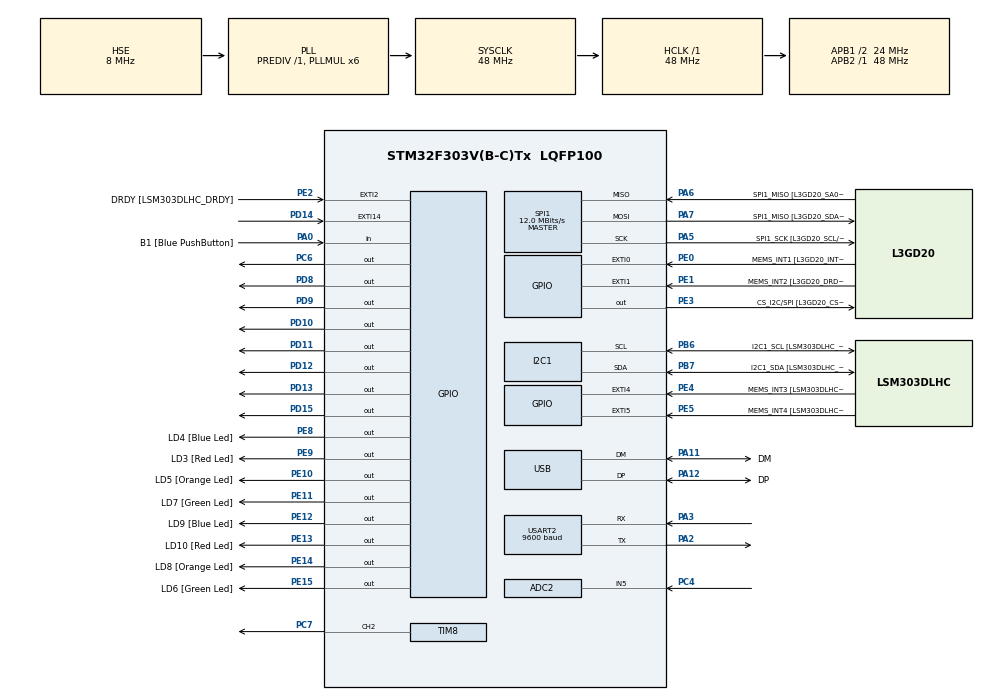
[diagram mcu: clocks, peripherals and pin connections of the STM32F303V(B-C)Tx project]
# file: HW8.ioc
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ADC2.Channel-0\#ChannelRegularConversion=ADC_CHANNEL_5
ADC2.NbrOfConversionFlag=1
ADC2.Offset-0\#ChannelRegularConversion=0
ADC2.OffsetNumber-0\#ChannelRegularConversion=ADC_OFFSET_NONE
ADC2.Rank-0\#ChannelRegularConversion=1
ADC2.SamplingTime-0\#ChannelRegularConversion=ADC_SAMPLETIME_1CYCLE_5
ADC2.SamplingTimeOPAMP-0\#ChannelRegularConversion=ADC_SAMPLETIME_19CYCLES_5
I2C1.Timing-I2C=0x2000090E
Mcu.Family=STM32F3
Mcu.Name=STM32F303V(B-C)Tx
Mcu.Package=LQFP100
NVIC.ADC1_2_IRQn=true\:0\:0\:false\:false\:true\:true\:true\:true
NVIC.EXTI15_10_IRQn=true\:0\:0\:false\:false\:true\:true\:true\:true
NVIC.PriorityGroup=NVIC_PRIORITYGROUP_0
NVIC.USART2_IRQn=true\:0\:0\:false\:false\:true\:true\:true\:true
PA0.GPIO_Label=B1 [Blue PushButton]
PA0.Signal=GPIO_Input
PA11.GPIO_Label=DM
PA11.Mode=Device
PA11.Signal=USB_DM
PA12.GPIO_Label=DP
PA12.Mode=Device
PA12.Signal=USB_DP
PA13.GPIO_Label=SWDIO
PA13.Mode=Serial_Wire
PA13.Signal=SYS_JTMS-SWDIO
PA14.GPIO_Label=SWCLK
PA14.Mode=Serial_Wire
PA14.Signal=SYS_JTCK-SWCLK
PA2.Mode=Asynchronous
PA2.Signal=USART2_TX
PA3.Mode=Asynchronous
PA3.Signal=USART2_RX
PA5.GPIO_Label=SPI1_SCK [L3GD20_SCL/SPC]
PA5.Mode=Full_Duplex_Master
PA5.Signal=SPI1_SCK
PA6.GPIO_Label=SPI1_MISO [L3GD20_SA0/SDO]
PA6.Mode=Full_Duplex_Master
PA6.Signal=SPI1_MISO
PA7.GPIO_Label=SPI1_MISO [L3GD20_SDA/SDI/SDO]
PA7.Mode=Full_Duplex_Master
PA7.Signal=SPI1_MOSI
PB3.GPIO_Label=SWO
PB3.Signal=SYS_JTDO-TRACESWO
PB6.GPIO_Label=I2C1_SCL [LSM303DLHC_SCL]
PB6.GPIO_Pu=GPIO_PULLUP
PB6.Mode=I2C
PB6.Signal=I2C1_SCL
PB7.GPIO_Label=I2C1_SDA [LSM303DLHC_SDA]
PB7.GPIO_Pu=GPIO_PULLUP
PB7.Mode=I2C
PB7.Signal=I2C1_SDA
PC14-OSC32_IN.GPIO_Label=OSC32_IN
PC14-OSC32_IN.Signal=RCC_OSC32_IN
PC15-OSC32_OUT.GPIO_Label=OSC32_OUT
PC15-OSC32_OUT.Signal=RCC_OSC32_OUT
PC4.Mode=IN5-Single-Ended
PC4.Signal=ADC2_IN5
PC6.Signal=GPIO_Output
PC7.Signal=S_TIM8_CH2
PD10.Signal=GPIO_Output
PD11.Signal=GPIO_Output
PD12.Signal=GPIO_Output
PD13.Signal=GPIO_Output
PD14.Signal=GPXTI14
PD15.Signal=GPIO_Output
PD8.Signal=GPIO_Output
PD9.Signal=GPIO_Output
PE0.GPIO_Label=MEMS_INT1 [L3GD20_INT1]
PE0.GPIO_ModeDefaultEXTI=GPIO_MODE_EVT_RISING
PE0.Signal=GPXTI0
PE1.GPIO_Label=MEMS_INT2 [L3GD20_DRDY/INT2]
PE1.GPIO_ModeDefaultEXTI=GPIO_MODE_EVT_RISING
PE1.Signal=GPXTI1
PE10.GPIO_Label=LD5 [Orange Led]
PE10.Signal=GPIO_Output
PE11.GPIO_Label=LD7 [Green Led]
PE11.Signal=GPIO_Output
PE12.GPIO_Label=LD9 [Blue Led]
PE12.Signal=GPIO_Output
PE13.GPIO_Label=LD10 [Red Led]
PE13.Signal=GPIO_Output
PE14.GPIO_Label=LD8 [Orange Led]
PE14.Signal=GPIO_Output
PE15.GPIO_Label=LD6 [Green Led]
PE15.Signal=GPIO_Output
PE2.GPIO_Label=DRDY [LSM303DLHC_DRDY]
PE2.GPIO_ModeDefaultEXTI=GPIO_MODE_EVT_RISING
PE2.Signal=GPXTI2
PE3.GPIO_Label=CS_I2C/SPI [L3GD20_CS_I2C/SPI]
PE3.Signal=GPIO_Output
PE4.GPIO_Label=MEMS_INT3 [LSM303DLHC_INT1]
PE4.GPIO_ModeDefaultEXTI=GPIO_MODE_EVT_RISING
PE4.Signal=GPXTI4
PE5.GPIO_Label=MEMS_INT4 [LSM303DLHC_INT2]
PE5.GPIO_ModeDefaultEXTI=GPIO_MODE_EVT_RISING
PE5.Signal=GPXTI5
PE8.GPIO_Label=LD4 [Blue Led]
PE8.Signal=GPIO_Output
PE9.GPIO_Label=LD3 [Red Led]
PE9.Signal=GPIO_Output
PF0-OSC_IN.GPIO_Label=OSC_IN
PF0-OSC_IN.Mode=HSE-External-Clock-Source
PF0-OSC_IN.Signal=RCC_OSC_IN
PF1-OSC_OUT.GPIO_Label=OSC_OUT
PF1-OSC_OUT.Signal=RCC_OSC_OUT
ProjectManager.HeapSize=0x200
ProjectManager.StackSize=0x400
ProjectManager.TargetToolchain=Makefile
RCC.AHBFreq_Value=48000000
RCC.APB1CLKDivider=RCC_HCLK_DIV2
RCC.APB1Freq_Value=24000000
RCC.APB1TimFreq_Value=48000000
RCC.APB2Freq_Value=48000000
RCC.APB2TimFreq_Value=48000000
RCC.CortexFreq_Value=48000000
RCC.HCLKFreq_Value=48000000
RCC.HSE_VALUE=8000000
RCC.HSI_VALUE=8000000
RCC.LSE_VALUE=32768
RCC.PLLMUL=RCC_PLL_MUL6
RCC.SYSCLKFreq_VALUE=48000000
RCC.SYSCLKSourceVirtual=RCC_SYSCLKSOURCE_PLLCLK
RCC.USBFreq_Value=48000000
SH.S_TIM8_CH2.0=TIM8_CH2,PWM Generation2 CH2
SPI1.BaudRatePrescaler=SPI_BAUDRATEPRESCALER_4
SPI1.BaudRatePrescaler-Full_Duplex_Master=SPI_BAUDRATEPRESCALER_2
SPI1.CalculateBaudRate=12.0 MBits/s
SPI1.CalculateBaudRate-Full_Duplex_Master=24.0 MBits/s
SPI1.Direction=SPI_DIRECTION_2LINES
SPI1.Mode=SPI_MODE_MASTER
SPI1.Mode-Full_Duplex_Master=SPI_MODE_MASTER
SPI1.VirtualType=VM_MASTER
TIM8.Channel-PWM\ Generation2\ CH2=TIM_CHANNEL_2
TIM8.Period=999
TIM8.Prescaler=47
USART2.AutoBaudRateEnableParam=UART_ADVFEATURE_AUTOBAUDRATE_ENABLE
USART2.BaudRate=9600
USART2.VirtualMode-Asynchronous=VM_ASYNC
VP_TIM8_VS_ClockSourceINT.Mode=Internal
board=STM32F3DISCOVERY

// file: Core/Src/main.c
/* USER CODE BEGIN Header */
/**
  ******************************************************************************
  * @file           : main.c
  * @brief          : Main program body
  ******************************************************************************
  * @attention
  *
  * Copyright (c) 2024 STMicroelectronics.
  * All rights reserved.
  *
  * This software is licensed under terms that can be found in the LICENSE file
  * in the root directory of this software component.
  * If no LICENSE file comes with this software, it is provided AS-IS.
  *
  ******************************************************************************
  */
/* USER CODE END Header */
#include "main.h"

/* USER CODE BEGIN PD */
#define DEBUNCE_TIME 150
#define USERNAME "ali"
#define PASSWORD "ali"
/* USER CODE END PD */

ADC_HandleTypeDef hadc2;

I2C_HandleTypeDef hi2c1;

SPI_HandleTypeDef hspi1;

TIM_HandleTypeDef htim8;

UART_HandleTypeDef huart2;

PCD_HandleTypeDef hpcd_USB_FS;

/* USER CODE BEGIN PV */

char playerAnswer[5];
char data[32];
uint8_t d;
uint8_t i = 0;
TIM_HandleTypeDef *buzzerPwmTimer;
uint32_t buzzerPwmChannel;
volatile uint8_t button_pressed = 0;
volatile uint8_t currentMode = 0;
uint8_t received = 0;
uint8_t loggedIn = 0;
uint8_t start = 0;
uint8_t loginStep

/* USER CODE END PV */

void SystemClock_Config(void);
static void MX_GPIO_Init(void);
static void MX_I2C1_Init(void);
static void MX_SPI1_Init(void);
static void MX_TIM8_Init(void);
static void MX_USART2_UART_Init(void);
static void MX_USB_PCD_Init(void);
static void MX_ADC2_Init(void);

/* USER CODE BEGIN 0 */
void showCounter(int right_counter, int left_counter, int state, int delay){
  int right_ones = right_counter % 10;
  int right_tens = 0;
  int left_ones = left_counter % 10;
  int left_tens = 0;
  HAL_GPIO_WritePin(GPIOD, GPIO_PIN_11, 0);
  HAL_GPIO_WritePin(GPIOD, GPIO_PIN_10, 0);
  HAL_GPIO_WritePin(GPIOD, GPIO_PIN_9, 0);
  HAL_GPIO_WritePin(GPIOD, GPIO_PIN_8, 0);
  // HAL_GPIO_WritePin(GPIOB, GPIO_PIN_11, 0);

  int right_decimal = 0;
  int left_decimal = 0;
  if (state == 0) right_decimal = 1;
  else if (state == 1) left_decimal = 1;
  else{
    right_decimal = 1;
    left_decimal = 1;
  }

  if (right_counter >= 10 ){
    right_tens = ( right_counter / 10) % 10;
  }
  if (left_counter >= 10){
    left_tens = ( left_counter / 10) % 10;
  }

  if ( HAL_GetTick() % (4 * delay) == 0) {
    // right_ones
    HAL_GPIO_WritePin(GPIOD, GPIO_PIN_10, 1);
    HAL_GPIO_WritePin(GPIOB, GPIO_PIN_11, 1);

    showDigits(right_ones);
  }else if ( HAL_GetTick() % (4 * delay) == 1) {
    // right_tens
    HAL_GPIO_WritePin(GPIOD, GPIO_PIN_11, 1);

    HAL_GPIO_WritePin(GPIOB, GPIO_PIN_11, 1);

    showDigits(right_tens);
  }
  else if ( HAL_GetTick() % (4 * delay) == 2) {
    // left_ones
    HAL_GPIO_WritePin(GPIOD, GPIO_PIN_8, 1);

    HAL_GPIO_WritePin(GPIOB, GPIO_PIN_11, 0);

    showDigits(left_ones);
  }
  else if ( HAL_GetTick() % (4 * delay) == 3) {
    // left_tens
    HAL_GPIO_WritePin(GPIOD, GPIO_PIN_9, 1);

    HAL_GPIO_WritePin(GPIOB, GPIO_PIN_11, 1);
    showDigits(left_tens);
  }
}

void showDigits(int number){
  switch (number)
  {
  case 0:
    HAL_GPIO_WritePin(GPIOB, GPIO_PIN_13, 0);
    HAL_GPIO_WritePin(GPIOB, GPIO_PIN_12, 0);
    HAL_GPIO_WritePin(GPIOB, GPIO_PIN_14, 0);
    HAL_GPIO_WritePin(GPIOB, GPIO_PIN_15, 0);
    break;

  case 1:
    HAL_GPIO_WritePin(GPIOB, GPIO_PIN_13, 1);
    HAL_GPIO_WritePin(GPIOB, GPIO_PIN_12, 0);
    HAL_GPIO_WritePin(GPIOB, GPIO_PIN_14, 0);
    HAL_GPIO_WritePin(GPIOB, GPIO_PIN_15, 0);
    break;

  case 2:
    HAL_GPIO_WritePin(GPIOB, GPIO_PIN_13, 0);
    HAL_GPIO_WritePin(GPIOB, GPIO_PIN_12, 1);
    HAL_GPIO_WritePin(GPIOB, GPIO_PIN_14, 0);
    HAL_GPIO_WritePin(GPIOB, GPIO_PIN_15, 0);
    break;

  case 3:
    HAL_GPIO_WritePin(GPIOB, GPIO_PIN_13, 1);
    HAL_GPIO_WritePin(GPIOB, GPIO_PIN_12, 1);
    HAL_GPIO_WritePin(GPIOB, GPIO_PIN_14, 0);
    HAL_GPIO_WritePin(GPIOB, GPIO_PIN_15, 0);
    break;

  case 4:
    HAL_GPIO_WritePin(GPIOB, GPIO_PIN_13, 0);
    HAL_GPIO_WritePin(GPIOB, GPIO_PIN_12, 0);
    HAL_GPIO_WritePin(GPIOB, GPIO_PIN_14, 1);
    HAL_GPIO_WritePin(GPIOB, GPIO_PIN_15, 0);
    break;

  case 5:
    HAL_GPIO_WritePin(GPIOB, GPIO_PIN_13, 1);
    HAL_GPIO_WritePin(GPIOB, GPIO_PIN_12, 0);
    HAL_GPIO_WritePin(GPIOB, GPIO_PIN_14, 1);
    HAL_GPIO_WritePin(GPIOB, GPIO_PIN_15, 0);
    break;

  case 6:
    HAL_GPIO_WritePin(GPIOB, GPIO_PIN_13, 0);
    HAL_GPIO_WritePin(GPIOB, GPIO_PIN_12, 1);
    HAL_GPIO_WritePin(GPIOB, GPIO_PIN_14, 1);
    HAL_GPIO_WritePin(GPIOB, GPIO_PIN_15, 0);
    break;

  case 7:
    HAL_GPIO_WritePin(GPIOB, GPIO_PIN_13, 1);
    HAL_GPIO_WritePin(GPIOB, GPIO_PIN_12, 1);
    HAL_GPIO_WritePin(GPIOB, GPIO_PIN_14, 1);
    HAL_GPIO_WritePin(GPIOB, GPIO_PIN_15, 0);
    break;

  case 8:
    HAL_GPIO_WritePin(GPIOB, GPIO_PIN_13, 0);
    HAL_GPIO_WritePin(GPIOB, GPIO_PIN_12, 0);
    HAL_GPIO_WritePin(GPIOB, GPIO_PIN_14, 0);
    HAL_GPIO_WritePin(GPIOB, GPIO_PIN_15, 1);
    break;

  case 9:
    HAL_GPIO_WritePin(GPIOB, GPIO_PIN_13, 1);
    HAL_GPIO_WritePin(GPIOB, GPIO_PIN_12, 0);
    HAL_GPIO_WritePin(GPIOB, GPIO_PIN_14, 0);
    HAL_GPIO_WritePin(GPIOB, GPIO_PIN_15, 1);
    break;

  default:
    break;
  }
}

void HAL_UART_RxCpltCallback(UART_HandleTypeDef *huart){
  if (huart->Instance == USART2){
    HAL_UART_Receive_IT(&huart2, &d, 1);
    data[i++] = d;
    if (d == '\n'){
      data[i] = '\0';
      i = 0;
      received = 1;
    }
  }
}

void sendData(char *str){
    HAL_UART_Transmit_IT(&huart2, (uint8_t *)str, strlen(str));
    while (HAL_UART_GetState(&huart2) == HAL_UART_STATE_BUSY_TX
    || HAL_UART_GetState(&huart2) == HAL_UART_STATE_BUSY_TX_RX);
}

char * getInput(){
  size_t length = strlen(data);

  char* result = malloc(length + 1);
  if (result == NULL) {
      return NULL;
  }
  strncpy(result, data, length);
  result[length] = '\0';
  return result;
}

int stringExists(char *str) {
  char temp[strlen(str)-1];
  for (size_t i = 0; i < strlen(str)-1; i++)
    temp[i] = str[i];
  if (strstr(data, temp) != NULL) return 1;
  else return 0;
}

/* USER CODE END 0 */

int main(void)
{

  /* MCU Configuration--------------------------------------------------------*/

  /* Reset of all peripherals, Initializes the Flash interface and the Systick. */
  HAL_Init();

  /* USER CODE BEGIN Init */
  // HAL_TIM_PWM_Start(&htim1, TIM_CHANNEL_1);
  HAL_TIM_PWM_Start(&htim8, TIM_CHANNEL_2);
  buzzerInit();
  /* USER CODE END Init */

  /* Configure the system clock */
  SystemClock_Config();

  /* Initialize all configured peripherals */
  MX_GPIO_Init();
  MX_I2C1_Init();
  MX_SPI1_Init();
  MX_TIM8_Init();
  MX_USART2_UART_Init();
  MX_USB_PCD_Init();
  MX_ADC2_Init();
  /* USER CODE BEGIN 2 */
  HAL_UART_Receive_IT(&huart2, &d, 1);

  /* USER CODE END 2 */

  /* Infinite loop */
  while (1)
  {

    /* USER CODE BEGIN 3 */
    if (!loggedIn && !start){
      sendData("Please enter your username and password");
      start = 1;
    }
  }
  /* USER CODE END 3 */
}

void SystemClock_Config(void)
{
  RCC_OscInitTypeDef RCC_OscInitStruct = {0};
  RCC_ClkInitTypeDef RCC_ClkInitStruct = {0};
  RCC_PeriphCLKInitTypeDef PeriphClkInit = {0};

  /** Initializes the RCC Oscillators according to the specified parameters
  * in the RCC_OscInitTypeDef structure.
  */
  RCC_OscInitStruct.OscillatorType = RCC_OSCILLATORTYPE_HSI|RCC_OSCILLATORTYPE_HSE;
  RCC_OscInitStruct.HSEState = RCC_HSE_BYPASS;
  RCC_OscInitStruct.HSEPredivValue = RCC_HSE_PREDIV_DIV1;
  RCC_OscInitStruct.HSIState = RCC_HSI_ON;
  RCC_OscInitStruct.HSICalibrationValue = RCC_HSICALIBRATION_DEFAULT;
  RCC_OscInitStruct.PLL.PLLState = RCC_PLL_ON;
  RCC_OscInitStruct.PLL.PLLSource = RCC_PLLSOURCE_HSE;
  RCC_OscInitStruct.PLL.PLLMUL = RCC_PLL_MUL6;
  if (HAL_RCC_OscConfig(&RCC_OscInitStruct) != HAL_OK)
  {
    Error_Handler();
  }

  /** Initializes the CPU, AHB and APB buses clocks
  */
  RCC_ClkInitStruct.ClockType = RCC_CLOCKTYPE_HCLK|RCC_CLOCKTYPE_SYSCLK
                              |RCC_CLOCKTYPE_PCLK1|RCC_CLOCKTYPE_PCLK2;
  RCC_ClkInitStruct.SYSCLKSource = RCC_SYSCLKSOURCE_PLLCLK;
  RCC_ClkInitStruct.AHBCLKDivider = RCC_SYSCLK_DIV1;
  RCC_ClkInitStruct.APB1CLKDivider = RCC_HCLK_DIV2;
  RCC_ClkInitStruct.APB2CLKDivider = RCC_HCLK_DIV1;

  if (HAL_RCC_ClockConfig(&RCC_ClkInitStruct, FLASH_LATENCY_1) != HAL_OK)
  {
    Error_Handler();
  }
  PeriphClkInit.PeriphClockSelection = RCC_PERIPHCLK_USB|RCC_PERIPHCLK_USART2
                              |RCC_PERIPHCLK_I2C1|RCC_PERIPHCLK_TIM8
                              |RCC_PERIPHCLK_ADC12;
  PeriphClkInit.Usart2ClockSelection = RCC_USART2CLKSOURCE_PCLK1;
  PeriphClkInit.Adc12ClockSelection = RCC_ADC12PLLCLK_DIV1;
  PeriphClkInit.I2c1ClockSelection = RCC_I2C1CLKSOURCE_HSI;
  PeriphClkInit.USBClockSelection = RCC_USBCLKSOURCE_PLL;
  PeriphClkInit.Tim8ClockSelection = RCC_TIM8CLK_HCLK;
  if (HAL_RCCEx_PeriphCLKConfig(&PeriphClkInit) != HAL_OK)
  {
    Error_Handler();
  }
}

static void MX_ADC2_Init(void)
{

  ADC_ChannelConfTypeDef sConfig = {0};

  /** Common config
  */
  hadc2.Instance = ADC2;
  hadc2.Init.ClockPrescaler = ADC_CLOCK_ASYNC_DIV1;
  hadc2.Init.Resolution = ADC_RESOLUTION_12B;
  hadc2.Init.ScanConvMode = ADC_SCAN_DISABLE;
  hadc2.Init.ContinuousConvMode = DISABLE;
  hadc2.Init.DiscontinuousConvMode = DISABLE;
  hadc2.Init.ExternalTrigConvEdge = ADC_EXTERNALTRIGCONVEDGE_NONE;
  hadc2.Init.ExternalTrigConv = ADC_SOFTWARE_START;
  hadc2.Init.DataAlign = ADC_DATAALIGN_RIGHT;
  hadc2.Init.NbrOfConversion = 1;
  hadc2.Init.DMAContinuousRequests = DISABLE;
  hadc2.Init.EOCSelection = ADC_EOC_SINGLE_CONV;
  hadc2.Init.LowPowerAutoWait = DISABLE;
  hadc2.Init.Overrun = ADC_OVR_DATA_OVERWRITTEN;
  if (HAL_ADC_Init(&hadc2) != HAL_OK)
  {
    Error_Handler();
  }

  /** Configure Regular Channel
  */
  sConfig.Channel = ADC_CHANNEL_5;
  sConfig.Rank = ADC_REGULAR_RANK_1;
  sConfig.SingleDiff = ADC_SINGLE_ENDED;
  sConfig.SamplingTime = ADC_SAMPLETIME_1CYCLE_5;
  sConfig.OffsetNumber = ADC_OFFSET_NONE;
  sConfig.Offset = 0;
  if (HAL_ADC_ConfigChannel(&hadc2, &sConfig) != HAL_OK)
  {
    Error_Handler();
  }

}

static void MX_I2C1_Init(void)
{

  hi2c1.Instance = I2C1;
  hi2c1.Init.Timing = 0x2000090E;
  hi2c1.Init.OwnAddress1 = 0;
  hi2c1.Init.AddressingMode = I2C_ADDRESSINGMODE_7BIT;
  hi2c1.Init.DualAddressMode = I2C_DUALADDRESS_DISABLE;
  hi2c1.Init.OwnAddress2 = 0;
  hi2c1.Init.OwnAddress2Masks = I2C_OA2_NOMASK;
  hi2c1.Init.GeneralCallMode = I2C_GENERALCALL_DISABLE;
  hi2c1.Init.NoStretchMode = I2C_NOSTRETCH_DISABLE;
  if (HAL_I2C_Init(&hi2c1) != HAL_OK)
  {
    Error_Handler();
  }

  /** Configure Analogue filter
  */
  if (HAL_I2CEx_ConfigAnalogFilter(&hi2c1, I2C_ANALOGFILTER_ENABLE) != HAL_OK)
  {
    Error_Handler();
  }

  /** Configure Digital filter
  */
  if (HAL_I2CEx_ConfigDigitalFilter(&hi2c1, 0) != HAL_OK)
  {
    Error_Handler();
  }

}

static void MX_SPI1_Init(void)
{

  /* SPI1 parameter configuration*/
  hspi1.Instance = SPI1;
  hspi1.Init.Mode = SPI_MODE_MASTER;
  hspi1.Init.Direction = SPI_DIRECTION_2LINES;
  hspi1.Init.DataSize = SPI_DATASIZE_4BIT;
  hspi1.Init.CLKPolarity = SPI_POLARITY_LOW;
  hspi1.Init.CLKPhase = SPI_PHASE_1EDGE;
  hspi1.Init.NSS = SPI_NSS_SOFT;
  hspi1.Init.BaudRatePrescaler = SPI_BAUDRATEPRESCALER_4;
  hspi1.Init.FirstBit = SPI_FIRSTBIT_MSB;
  hspi1.Init.TIMode = SPI_TIMODE_DISABLE;
  hspi1.Init.CRCCalculation = SPI_CRCCALCULATION_DISABLE;
  hspi1.Init.CRCPolynomial = 7;
  hspi1.Init.CRCLength = SPI_CRC_LENGTH_DATASIZE;
  hspi1.Init.NSSPMode = SPI_NSS_PULSE_ENABLE;
  if (HAL_SPI_Init(&hspi1) != HAL_OK)
  {
    Error_Handler();
  }

}

static void MX_TIM8_Init(void)
{

  TIM_ClockConfigTypeDef sClockSourceConfig = {0};
  TIM_MasterConfigTypeDef sMasterConfig = {0};
  TIM_OC_InitTypeDef sConfigOC = {0};
  TIM_BreakDeadTimeConfigTypeDef sBreakDeadTimeConfig = {0};

  htim8.Instance = TIM8;
  htim8.Init.Prescaler = 47;
  htim8.Init.CounterMode = TIM_COUNTERMODE_UP;
  htim8.Init.Period = 999;
  htim8.Init.ClockDivision = TIM_CLOCKDIVISION_DIV1;
  htim8.Init.RepetitionCounter = 0;
  htim8.Init.AutoReloadPreload = TIM_AUTORELOAD_PRELOAD_DISABLE;
  if (HAL_TIM_Base_Init(&htim8) != HAL_OK)
  {
    Error_Handler();
  }
  sClockSourceConfig.ClockSource = TIM_CLOCKSOURCE_INTERNAL;
  if (HAL_TIM_ConfigClockSource(&htim8, &sClockSourceConfig) != HAL_OK)
  {
    Error_Handler();
  }
  if (HAL_TIM_PWM_Init(&htim8) != HAL_OK)
  {
    Error_Handler();
  }
  sMasterConfig.MasterOutputTrigger = TIM_TRGO_RESET;
  sMasterConfig.MasterOutputTrigger2 = TIM_TRGO2_RESET;
  sMasterConfig.MasterSlaveMode = TIM_MASTERSLAVEMODE_DISABLE;
  if (HAL_TIMEx_MasterConfigSynchronization(&htim8, &sMasterConfig) != HAL_OK)
  {
    Error_Handler();
  }
  sConfigOC.OCMode = TIM_OCMODE_PWM1;
  sConfigOC.Pulse = 0;
  sConfigOC.OCPolarity = TIM_OCPOLARITY_HIGH;
  sConfigOC.OCNPolarity = TIM_OCNPOLARITY_HIGH;
  sConfigOC.OCFastMode = TIM_OCFAST_DISABLE;
  sConfigOC.OCIdleState = TIM_OCIDLESTATE_RESET;
  sConfigOC.OCNIdleState = TIM_OCNIDLESTATE_RESET;
  if (HAL_TIM_PWM_ConfigChannel(&htim8, &sConfigOC, TIM_CHANNEL_2) != HAL_OK)
  {
    Error_Handler();
  }
  sBreakDeadTimeConfig.OffStateRunMode = TIM_OSSR_DISABLE;
  sBreakDeadTimeConfig.OffStateIDLEMode = TIM_OSSI_DISABLE;
  sBreakDeadTimeConfig.LockLevel = TIM_LOCKLEVEL_OFF;
  sBreakDeadTimeConfig.DeadTime = 0;
  sBreakDeadTimeConfig.BreakState = TIM_BREAK_DISABLE;
  sBreakDeadTimeConfig.BreakPolarity = TIM_BREAKPOLARITY_HIGH;
  sBreakDeadTimeConfig.BreakFilter = 0;
  sBreakDeadTimeConfig.Break2State = TIM_BREAK2_DISABLE;
  sBreakDeadTimeConfig.Break2Polarity = TIM_BREAK2POLARITY_HIGH;
  sBreakDeadTimeConfig.Break2Filter = 0;
  sBreakDeadTimeConfig.AutomaticOutput = TIM_AUTOMATICOUTPUT_DISABLE;
  if (HAL_TIMEx_ConfigBreakDeadTime(&htim8, &sBreakDeadTimeConfig) != HAL_OK)
  {
    Error_Handler();
  }
  HAL_TIM_MspPostInit(&htim8);

}

static void MX_USART2_UART_Init(void)
{

  huart2.Instance = USART2;
  huart2.Init.BaudRate = 9600;
  huart2.Init.WordLength = UART_WORDLENGTH_8B;
  huart2.Init.StopBits = UART_STOPBITS_1;
  huart2.Init.Parity = UART_PARITY_NONE;
  huart2.Init.Mode = UART_MODE_TX_RX;
  huart2.Init.HwFlowCtl = UART_HWCONTROL_NONE;
  huart2.Init.OverSampling = UART_OVERSAMPLING_16;
  huart2.Init.OneBitSampling = UART_ONE_BIT_SAMPLE_DISABLE;
  huart2.AdvancedInit.AdvFeatureInit = UART_ADVFEATURE_AUTOBAUDRATE_INIT;
  huart2.AdvancedInit.AutoBaudRateEnable = UART_ADVFEATURE_AUTOBAUDRATE_ENABLE;
  huart2.AdvancedInit.AutoBaudRateMode = UART_ADVFEATURE_AUTOBAUDRATE_ONSTARTBIT;
  if (HAL_UART_Init(&huart2) != HAL_OK)
  {
    Error_Handler();
  }

}

static void MX_USB_PCD_Init(void)
{

  hpcd_USB_FS.Instance = USB;
  hpcd_USB_FS.Init.dev_endpoints = 8;
  hpcd_USB_FS.Init.speed = PCD_SPEED_FULL;
  hpcd_USB_FS.Init.phy_itface = PCD_PHY_EMBEDDED;
  hpcd_USB_FS.Init.low_power_enable = DISABLE;
  hpcd_USB_FS.Init.battery_charging_enable = DISABLE;
  if (HAL_PCD_Init(&hpcd_USB_FS) != HAL_OK)
  {
    Error_Handler();
  }

}

static void MX_GPIO_Init(void)
{
  GPIO_InitTypeDef GPIO_InitStruct = {0};

  /* GPIO Ports Clock Enable */
  __HAL_RCC_GPIOE_CLK_ENABLE();
  __HAL_RCC_GPIOC_CLK_ENABLE();
  __HAL_RCC_GPIOF_CLK_ENABLE();
  __HAL_RCC_GPIOA_CLK_ENABLE();
  __HAL_RCC_GPIOD_CLK_ENABLE();
  __HAL_RCC_GPIOB_CLK_ENABLE();

  /*Configure GPIO pin Output Level */
  HAL_GPIO_WritePin(GPIOE, CS_I2C_SPI_Pin|LD4_Pin|LD3_Pin|LD5_Pin
                          |LD7_Pin|LD9_Pin|LD10_Pin|LD8_Pin
                          |LD6_Pin, GPIO_PIN_RESET);

  /*Configure GPIO pin Output Level */
  HAL_GPIO_WritePin(GPIOD, GPIO_PIN_8|GPIO_PIN_9|GPIO_PIN_10|GPIO_PIN_11
                          |GPIO_PIN_12|GPIO_PIN_13|GPIO_PIN_15, GPIO_PIN_RESET);

  /*Configure GPIO pin Output Level */
  HAL_GPIO_WritePin(GPIOC, GPIO_PIN_6, GPIO_PIN_RESET);

  /*Configure GPIO pins : DRDY_Pin MEMS_INT3_Pin MEMS_INT4_Pin MEMS_INT1_Pin
                           MEMS_INT2_Pin */
  GPIO_InitStruct.Pin = DRDY_Pin|MEMS_INT3_Pin|MEMS_INT4_Pin|MEMS_INT1_Pin
                          |MEMS_INT2_Pin;
  GPIO_InitStruct.Mode = GPIO_MODE_EVT_RISING;
  GPIO_InitStruct.Pull = GPIO_NOPULL;
  HAL_GPIO_Init(GPIOE, &GPIO_InitStruct);

  /*Configure GPIO pins : CS_I2C_SPI_Pin LD4_Pin LD3_Pin LD5_Pin
                           LD7_Pin LD9_Pin LD10_Pin LD8_Pin
                           LD6_Pin */
  GPIO_InitStruct.Pin = CS_I2C_SPI_Pin|LD4_Pin|LD3_Pin|LD5_Pin
                          |LD7_Pin|LD9_Pin|LD10_Pin|LD8_Pin
                          |LD6_Pin;
  GPIO_InitStruct.Mode = GPIO_MODE_OUTPUT_PP;
  GPIO_InitStruct.Pull = GPIO_NOPULL;
  GPIO_InitStruct.Speed = GPIO_SPEED_FREQ_LOW;
  HAL_GPIO_Init(GPIOE, &GPIO_InitStruct);

  /*Configure GPIO pin : B1_Pin */
  GPIO_InitStruct.Pin = B1_Pin;
  GPIO_InitStruct.Mode = GPIO_MODE_INPUT;
  GPIO_InitStruct.Pull = GPIO_NOPULL;
  HAL_GPIO_Init(B1_GPIO_Port, &GPIO_InitStruct);

  /*Configure GPIO pins : PD8 PD9 PD10 PD11
                           PD12 PD13 PD15 */
  GPIO_InitStruct.Pin = GPIO_PIN_8|GPIO_PIN_9|GPIO_PIN_10|GPIO_PIN_11
                          |GPIO_PIN_12|GPIO_PIN_13|GPIO_PIN_15;
  GPIO_InitStruct.Mode = GPIO_MODE_OUTPUT_PP;
  GPIO_InitStruct.Pull = GPIO_NOPULL;
  GPIO_InitStruct.Speed = GPIO_SPEED_FREQ_LOW;
  HAL_GPIO_Init(GPIOD, &GPIO_InitStruct);

  /*Configure GPIO pin : PD14 */
  GPIO_InitStruct.Pin = GPIO_PIN_14;
  GPIO_InitStruct.Mode = GPIO_MODE_IT_RISING;
  GPIO_InitStruct.Pull = GPIO_NOPULL;
  HAL_GPIO_Init(GPIOD, &GPIO_InitStruct);

  /*Configure GPIO pin : PC6 */
  GPIO_InitStruct.Pin = GPIO_PIN_6;
  GPIO_InitStruct.Mode = GPIO_MODE_OUTPUT_PP;
  GPIO_InitStruct.Pull = GPIO_NOPULL;
  GPIO_InitStruct.Speed = GPIO_SPEED_FREQ_LOW;
  HAL_GPIO_Init(GPIOC, &GPIO_InitStruct);

  /* EXTI interrupt init*/
  HAL_NVIC_SetPriority(EXTI15_10_IRQn, 0, 0);
  HAL_NVIC_EnableIRQ(EXTI15_10_IRQn);

}

/* USER CODE BEGIN 4 */
void buzzerInit() {
    buzzerPwmTimer = &htim8;
    buzzerPwmChannel = TIM_CHANNEL_2;
    HAL_TIM_PWM_Start(buzzerPwmTimer, buzzerPwmChannel);
}

void buzzerChangeTone(uint16_t freq, uint16_t volume) {
    if (freq == 0 || freq > 20000) {
        __HAL_TIM_SET_COMPARE(buzzerPwmTimer, buzzerPwmChannel, 0);
    } else {
        const uint32_t internalClockFreq = HAL_RCC_GetSysClockFreq();
        const uint32_t prescaler = 1 + internalClockFreq / freq / 60000;
        const uint32_t timerClock = internalClockFreq / prescaler;
        const uint32_t periodCycles = timerClock / freq;
        const uint32_t pulseWidth = volume * periodCycles / 1000 / 2;

        buzzerPwmTimer->Instance->PSC = prescaler - 1;
        buzzerPwmTimer->Instance->ARR = periodCycles - 1;
        buzzerPwmTimer->Instance->EGR = TIM_EGR_UG;

        __HAL_TIM_SET_COMPARE(buzzerPwmTimer, buzzerPwmChannel, pulseWidth);
    }
}
/* USER CODE END 4 */

void Error_Handler(void)
{
  __disable_irq();
  while (1)
  {
  }
}
